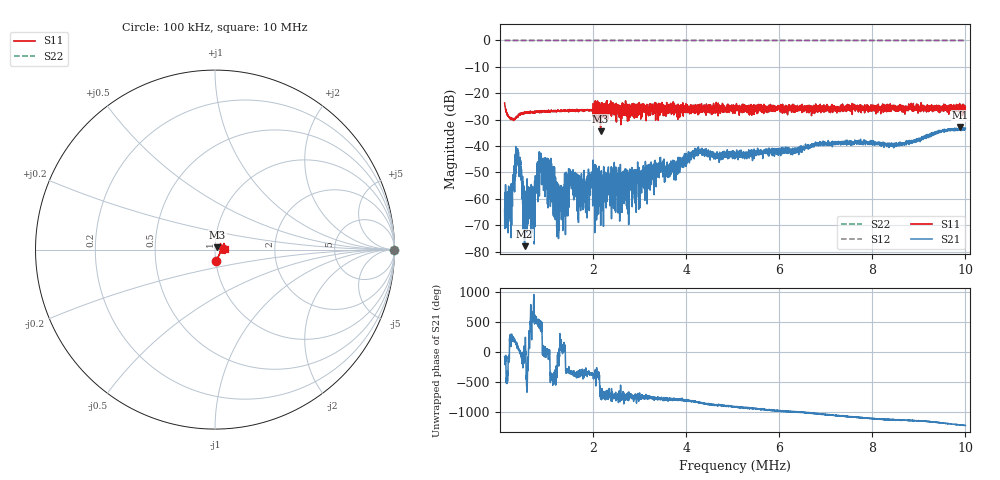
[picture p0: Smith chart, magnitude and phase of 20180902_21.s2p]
! Anritsu VNA Master:  Model: MS2026C/19
! SN:  1815009
! /card0/usr/20180902_21.s2p
! Existing Calibration Information:
! TYPE:  Current Settings,  Active Cal Settings
! TIME:  09/02/2018 02:26:02 PM,  09/02/2018 11:58:48 AM
! INTERNAL TEMP:  47.0 C,  48.8 C
! # POINTS:  4001,  4001
! START FREQ:  100.000 kHz,  100.000 kHz
! STOP FREQ:  10.000 MHz,  10.000 MHz
! SOURCE POWER:  Low,  Low
! IFBW:  500 Hz,  500 Hz
! AVG FACTOR:  1 ,  1
! REF PLANE 1:  0 mm,  0 mm
! REF PLANE 2:  0 mm,  0 mm
! CAL TYPE:  1P2P S11,S21,  1P2P S11,S21
! CAL METHOD:  SOLT,  SOLT
! CAL LINE TYPE:  Coax,  Coax
! DUT PORT 1:  N-Conn(M),  N-Conn(M)
! DUT PORT 2:  N-Conn(M),  N-Conn(M)
! CAL STATUS:  OK: Accuracy High,  --
# GHZ S RI R 50.0
! FREQ.GHZ  S11RE  S11IM  S21RE  S21IM  S12RE  S12IM  S22RE  S22IM
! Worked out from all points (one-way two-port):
!   4001 points, 100 kHz to 10 MHz, reference 50 ohm
!   highest |S21| = -32.98 dB at 9.891 MHz (marker M1); lowest = -78.0 dB at 528.2 kHz (marker M2)
!   lowest |S11| = -34.4 dB at 2.162 MHz (marker M3), VSWR 1.04, Z = 51.4 + j1.34 ohm
!   |S11| at or under -10 dB: start of sweep to end of sweep
!   |S22| runs from 0.0 to 0.0 dB; largest |S21 - S12| = 1
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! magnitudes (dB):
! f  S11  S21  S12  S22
! 100 kHz  -23.7  -64.0  0.0  0.0
! 218.8 kHz  -29.7  -56.0  0.0  0.0
! 384.6 kHz  -28.3  -43.4  0.0  0.0
! 416.8 kHz  -27.9  -45.1  0.0  0.0
! 528.2 kHz  -27.2  -78.0  0.0  0.0
! 703.9 kHz  -27.0  -64.3  0.0  0.0
! 805.4 kHz  -27.2  -52.5  0.0  0.0
! 899.4 kHz  -26.7  -46.6  0.0  0.0
! 1.092 MHz  -26.8  -60.6  0.0  0.0
! 1.268 MHz  -26.8  -72.0  0.0  0.0
! 1.521 MHz  -26.4  -52.2  0.0  0.0
! 1.751 MHz  -26.6  -50.5  0.0  0.0
! 1.974 MHz  -26.4  -51.6  0.0  0.0
! 2.162 MHz  -34.4  -55.9  0.0  0.0
! 3.028 MHz  -24.8  -49.4  0.0  0.0
! 3.402 MHz  -30.3  -50.7  0.0  0.0
! 4.278 MHz  -26.2  -42.1  0.0  0.0
! 5.05 MHz  -24.6  -43.2  0.0  0.0
! 6.701 MHz  -27.2  -40.2  0.0  0.0
! 8.352 MHz  -26.7  -39.3  0.0  0.0
! 9.891 MHz  -25.5  -33.0  0.0  0.0
! 10 MHz  -25.4  -33.3  0.0  0.0
